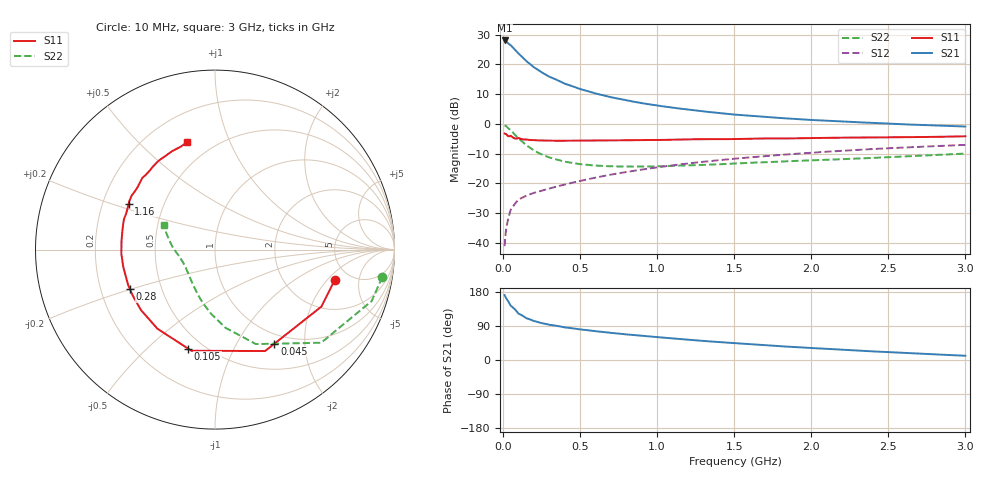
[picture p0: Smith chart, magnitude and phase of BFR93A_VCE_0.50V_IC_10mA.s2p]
! Infineon Technologies  Discrete & RF Semiconductors
! BFR93A
! VCE = 0.50 V,  IC =  10 mA
! Common Emitter S-Parameters:  Nov 2015
# GHz  S  MA  R  50
!  f  S11  S21  S12  S22
! GHz  MAG  ANG  MAG  ANG  MAG  ANG  MAG  ANG
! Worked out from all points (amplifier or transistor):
!   180 points, 10 MHz to 3 GHz, reference 50 ohm
!   highest |S21| = 28.1 dB at 10 MHz (marker M1)
!   |S21| within 3 dB of that: start of sweep to 74.54 MHz
!   unconditionally stable (mu >= 1): 473.3 MHz to end of sweep
!   at 160 MHz: K = 0.54, MSG = 22.4 dB, |S12| = -24.0 dB
!   at 1.22 GHz: K = 1.14, MAG = 6.7 dB, |S12| = -13.2 dB
!   at 3 GHz: K = 1.05, MAG = 1.7 dB, |S12| = -7.1 dB
!   S11 on the Smith chart (normalised r, x): 10 MHz: 3.76, -2.43; 45 MHz: 0.85, -1.45; 105 MHz: 0.41, -0.68; 280 MHz: 0.33, -0.20; 1.16 GHz: 0.31, +0.23; 3 GHz: 0.37, +0.71
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0.01  0.6881 -14.3  25.4 171.2  0.0087 83.5  0.9446 -9.3
0.02  0.6724 -28.2  24.56 163.0  0.0169 76.7  0.9186 -18.2
0.045  0.6199 -57.7  21.47 146.8  0.0327 63.7  0.7989 -37.0
0.05  0.6303 -63.7  21.09 143.1  0.036 62.5  0.787 -41.3
0.1  0.5787 -103.1  15.34 122.4  0.0531 50.2  0.5734 -66.6
0.105  0.5714 -105.2  14.92 121.5  0.0539 49.8  0.5584 -67.8
0.15  0.5452 -126.0  11.42 110.4  0.0617 46.5  0.4386 -82.5
0.2  0.5325 -140.7  8.997 102.9  0.0687 46.3  0.3567 -93.7
0.24  0.5256 -148.8  7.687 98.5  0.0736 46.9  0.315 -100.7
0.28  0.5227 -155.2  6.683 94.9  0.0787 47.9  0.2843 -107.0
0.3  0.5225 -158.0  6.234 93.0  0.0813 48.5  0.2711 -110.2
0.4  0.5201 -169.3  4.754 86.1  0.0951 51.1  0.2308 -122.3
0.52  0.522 -178.9  3.736 79.9  0.1121 53.1  0.2071 -132.7
0.6  0.5228 175.9  3.251 75.9  0.1242 54.0  0.1983 -139.1
0.7  0.5251 170.7  2.808 71.6  0.1396 54.7  0.1927 -145.3
0.8  0.529 166.2  2.484 67.5  0.1545 54.9  0.1906 -151.0
1.02  0.5354 156.9  1.999 59.7  0.1881 54.1  0.193 -160.3
1.16  0.545 151.9  1.792 55.0  0.2093 52.9  0.1984 -165.3
1.52  0.5553 140.6  1.421 44.1  0.2613 49.4  0.2157 -175.5
2.02  0.5771 127.0  1.156 31.2  0.329 43.3  0.2439 173.8
2.52  0.5946 115.3  1.004 20.4  0.3903 36.3  0.2758 164.1
3  0.6177 104.5  0.902 11.2  0.4423 29.1  0.3157 154.3
